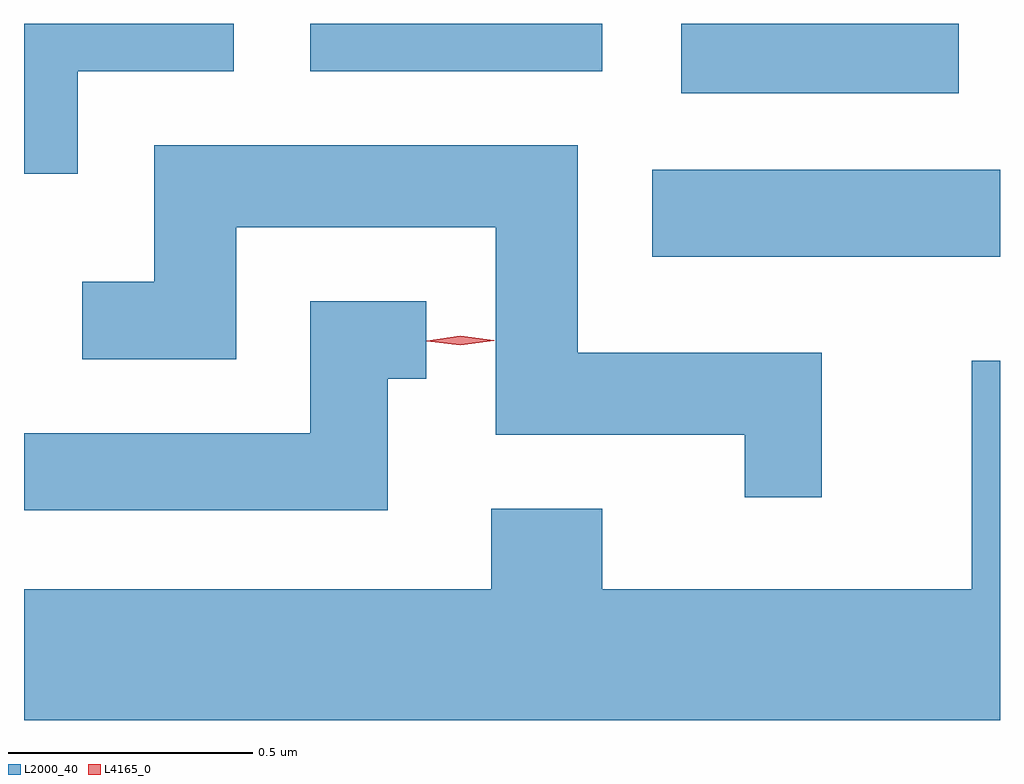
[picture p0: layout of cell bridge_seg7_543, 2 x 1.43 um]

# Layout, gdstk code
import gdstk
lib = gdstk.Library(unit=1e-6, precision=1e-09)
def R(c, l, rs):  # rectangles x0, y0, x1, y1
    for r in rs: c.add(gdstk.rectangle(r[:2], r[2:], *l))
def P(c, l, *ps):  # polygons
    for p in ps: c.add(gdstk.Polygon(p, *l))
L2000_40 = (2000, 40)
L4165_0 = (4165, 0)

bridge_seg7_543 = lib.new_cell('bridge_seg7_543')
R(bridge_seg7_543, L2000_40, [(857.591,1786.306,858.304,1786.484), (857.651,1786.641,858.219,1786.783), (856.891,1786.686,857.489,1786.783)])
P(bridge_seg7_543, L2000_40, [(856.414,1786.686),(856.734,1786.686),(856.734,1786.783),(856.304,1786.783),(856.304,1786.476),(856.414,1786.476)],
  [(857.939,1786.109),(857.439,1786.109),(857.439,1786.534),(856.571,1786.534),(856.571,1786.254),(856.423,1786.254),(856.423,1786.096),(856.739,1786.096),(856.739,1786.366),(857.271,1786.366),(857.271,1785.941),(857.781,1785.941),(857.781,1785.813),(857.939,1785.813)],
  [(857.049,1786.056),(857.128,1786.056),(857.128,1786.214),(856.891,1786.214),(856.891,1785.944),(856.304,1785.944),(856.304,1785.786),(857.049,1785.786)],
  [(858.304,1786.093),(858.246,1786.093),(858.246,1785.624),(857.489,1785.624),(857.489,1785.789),(857.261,1785.789),(857.261,1785.624),(856.304,1785.624),(856.304,1785.356),(858.304,1785.356)])
P(bridge_seg7_543, L4165_0, [(857.198,1786.124),(857.129,1786.133),(857.129,1786.134),(857.129,1786.134),(857.198,1786.144),(857.268,1786.135),(857.268,1786.134),(857.268,1786.134)])

lib.write_gds('bridge_seg7_543.gds')
